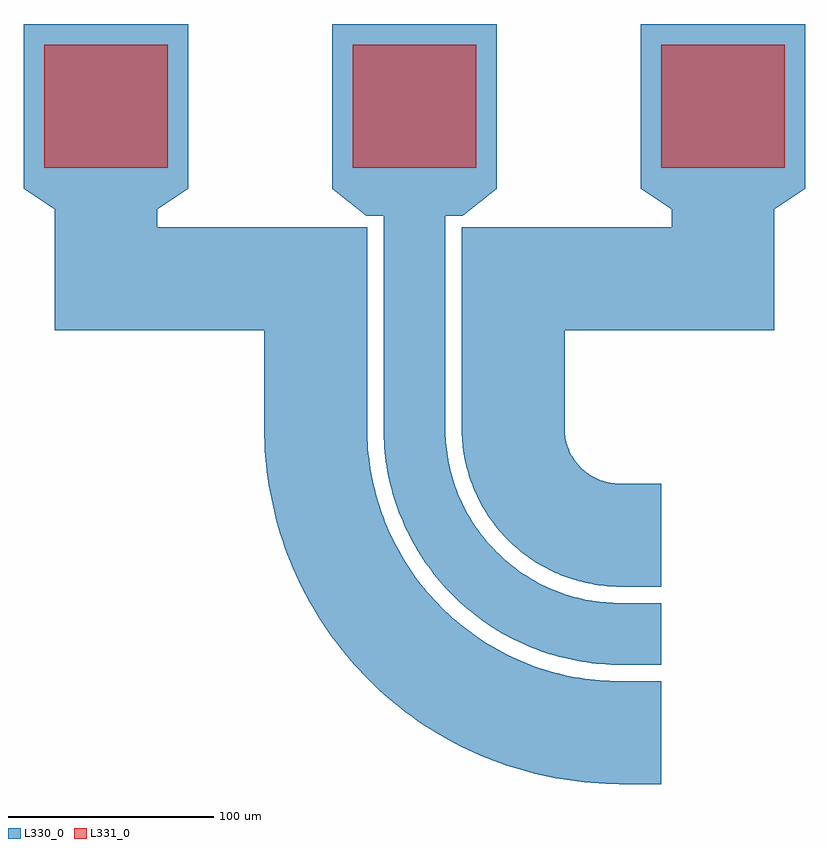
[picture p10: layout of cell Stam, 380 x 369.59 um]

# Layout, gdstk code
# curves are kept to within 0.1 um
import gdstk
lib = gdstk.Library(unit=1e-6, precision=5e-09)
def R(c, l, rs):  # rectangles x0, y0, x1, y1
    for r in rs: c.add(gdstk.rectangle(r[:2], r[2:], *l))
def A(c, l, x, y, w, h, nx, ny, dx, dy):  # array of equal rectangles
    R(c, l, [(x+i*dx, y+j*dy, x+i*dx+w, y+j*dy+h) for i in range(nx) for j in range(ny)])
def P(c, l, *ps):  # polygons
    for p in ps: c.add(gdstk.Polygon(p, *l))
L330_0 = (330, 0)
L331_0 = (331, 0)

stam = lib.new_cell('Stam')
P(stam, L330_0, [(-20.37,-72.995),(-30.445,-72.685),(-40.855,-71.74),(-51.185,-70.165),(-61.405,-67.975),(-71.47,-65.165),(-81.35,-61.76),(-91.005,-57.76),(-97.3,-54.77),(-106.505,-49.825),(-112.465,-46.22),(-121.125,-40.37),(-129.415,-34.005),(-137.31,-27.155),(-142.335,-22.33),(-149.495,-14.72),(-156.185,-6.69),(-162.38,1.725),(-166.22,7.54),(-171.54,16.535),(-174.775,22.705),(-179.16,32.19),(-182.965,41.925),(-186.175,51.87),(-187.98,58.6),(-189.51,65.4),(-191.29,75.695),(-192.13,82.61),(-192.69,89.555),(-192.98,97.77),(-192.98,147.765),(-294.98,147.765),(-294.98,206.59),(-309.98,216.59),(-309.98,296.59),(-229.98,296.59),(-229.98,216.59),(-244.98,206.59),(-244.98,197.765),(-142.98,197.765),(-142.98,97.77),(-142.605,90.105),(-141.41,80.27),(-139.43,70.565),(-137.435,63.41),(-135.865,58.71),(-132.165,49.52),(-127.74,40.66),(-125.265,36.37),(-122.615,32.185),(-116.825,24.145),(-110.41,16.6),(-103.405,9.595),(-95.86,3.18),(-87.82,-2.61),(-83.635,-5.26),(-79.345,-7.735),(-74.96,-10.04),(-70.48,-12.16),(-65.925,-14.105),(-61.295,-15.86),(-56.595,-17.43),(-51.835,-18.805),(-47.025,-19.995),(-42.175,-20.985),(-37.285,-21.78),(-32.365,-22.375),(-24.955,-22.9),(0,-22.995),(0,-72.995)],
  [(-20.075,-14.995),(-26.945,-14.79),(-36.16,-13.855),(-45.27,-12.19),(-51.995,-10.455),(-58.605,-8.325),(-67.2,-4.865),(-75.485,-0.73),(-81.465,2.805),(-89.085,8.065),(-94.51,12.405),(-101.32,18.685),(-107.6,25.49),(-111.94,30.915),(-117.2,38.54),(-121.83,46.56),(-124.87,52.805),(-128.33,61.395),(-129.795,65.79),(-131.66,72.48),(-133.515,81.555),(-134.165,86.14),(-134.79,93.06),(-134.98,97.685),(-134.98,203.39),(-143.48,203.39),(-159.98,216.59),(-159.98,296.59),(-79.98,296.59),(-79.98,216.59),(-96.48,203.39),(-104.98,203.39),(-104.98,97.77),(-104.57,91.46),(-103.61,84.68),(-102.925,81.325),(-101.645,76.355),(-100.07,71.47),(-98.855,68.27),(-96.795,63.565),(-95.265,60.5),(-93.615,57.505),(-90.91,53.135),(-87.955,48.94),(-85.84,46.245),(-83.625,43.64),(-80.105,39.9),(-76.365,36.38),(-73.76,34.16),(-71.065,32.05),(-66.87,29.09),(-61.01,25.55),(-56.44,23.21),(-53.32,21.805),(-50.14,20.525),(-45.29,18.85),(-42,17.9),(-37.005,16.72),(-30.245,15.625),(-23.425,15.075),(0,15.005),(0,-14.995)],
  [(-19.885,23.005),(-24.65,23.145),(-30.82,23.77),(-35.405,24.56),(-41.425,26.045),(-47.305,28.01),(-51.6,29.79),(-55.785,31.825),(-61.155,34.925),(-66.255,38.445),(-69.89,41.35),(-73.34,44.47),(-77.635,48.945),(-80.615,52.515),(-84.24,57.55),(-87.445,62.855),(-90.215,68.4),(-92.53,74.155),(-94.76,81.575),(-96.005,87.65),(-96.86,95.355),(-96.98,97.765),(-96.98,197.765),(5.02,197.765),(5.02,206.59),(-9.98,216.59),(-9.98,296.59),(70.02,296.59),(70.02,216.59),(55.02,206.59),(55.02,147.765),(-46.98,147.765),(-46.98,97.77),(-46.34,94.07),(-45.61,91.455),(-44.39,88.43),(-42.82,85.575),(-41.585,83.785),(-39.845,81.7),(-37.905,79.795),(-36.22,78.42),(-34.43,77.185),(-32.065,75.85),(-29.575,74.76),(-27.51,74.075),(-24.33,73.355),(-21.09,73.03),(0,73.005),(0,23.005)])
A(stam, L331_0, -299.98, 226.59, 60, 60, 3, 1, 150, 0)

lib.write_gds('Stam.gds')
